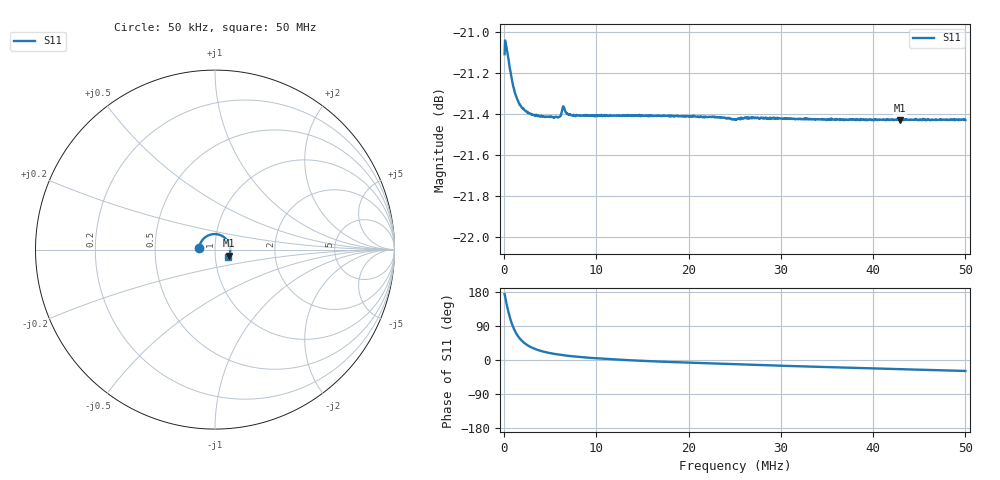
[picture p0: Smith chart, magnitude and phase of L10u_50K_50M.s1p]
# HZ S RI R 50
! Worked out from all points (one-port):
!   1010 points, 50 kHz to 50 MHz, reference 50 ohm
!   lowest |S11| = -21.4 dB at 42.87 MHz (marker M1), VSWR 1.19, Z = 58.2 - j4.07 ohm
!   |S11| at or under -10 dB: start of sweep to end of sweep
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50000  -0.0875 0.00935
149008  -0.0841 0.0279
248016  -0.0765 0.0443
396528  -0.0606 0.0637
495536  -0.0486 0.073
644048  -0.0303 0.0818
792560  -0.0133 0.0859
891568  -0.00313 0.0866
1040080  0.0102 0.0858
1188592  0.0214 0.0834
1337104  0.0307 0.0802
1634128  0.0447 0.073
1980656  0.0557 0.0647
2277680  0.0622 0.0584
2624208  0.0675 0.0519
3465776  0.0751 0.04
4752880  0.0802 0.0281
5891472  0.0823 0.0211
6337008  0.0832 0.0193
8812208  0.0845 0.00976
1.257451e7  0.085 0.000927
1.881202e7  0.0845 -0.009
2.504952e7  0.0832 -0.0167
3.128702e7  0.0816 -0.0234
3.752453e7  0.0795 -0.0297
4.287096e7  0.0774 -0.0347
4.376203e7  0.077 -0.0355
4.999954e7  0.0742 -0.041
